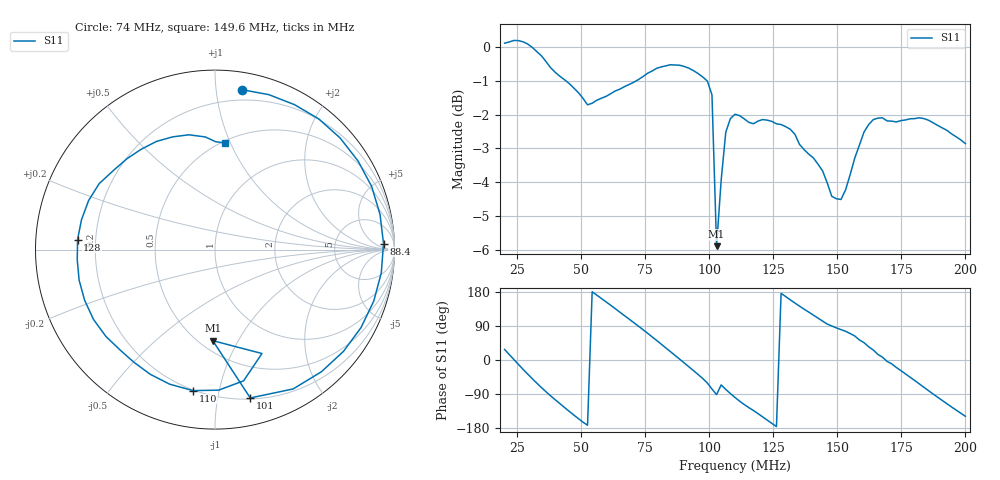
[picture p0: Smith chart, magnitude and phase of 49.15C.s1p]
# HZ S RI R 50
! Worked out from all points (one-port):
!   101 points, 20 MHz to 200 MHz, reference 50 ohm
!   lowest |S11| = -5.9 dB at 102.8 MHz (marker M1), VSWR 3.06, Z = 29 - j39.6 ohm
!   |S11| at or under -10 dB: nowhere
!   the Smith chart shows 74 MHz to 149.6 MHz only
!   S11 on the Smith chart (normalised r, x): 74 MHz: 0.12, +1.18; 88.4 MHz: 24, +14; 101 MHz: 0.21, -1.24; 110 MHz: 0.20, -0.84; 128 MHz: 0.13, +0.04; 149.6 MHz: 0.52, +0.95
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2e7  0.8952 0.4738
2.54e7  1.001 -0.2056
3.26e7  0.4745 -0.8619
3.8e7  -0.0761 -0.9282
4.34e7  -0.5166 -0.7298
4.88e7  -0.7732 -0.3673
5.42e7  -0.8256 0.000276
6.5e7  -0.513 0.6976
7.4e7  0.1511 0.8909
8.12e7  0.697 0.6219
8.84e7  0.9389 0.0337
9.56e7  0.7164 -0.5663
1.01e8  0.1964 -0.8266
1.028e8  -0.0125 -0.5073
1.046e8  0.2617 -0.579
1.1e8  -0.1226 -0.7855
1.208e8  -0.6774 -0.3885
1.28e8  -0.7658 0.0557
1.334e8  -0.6455 0.3674
1.424e8  -0.2362 0.6281
1.496e8  0.0547 0.5938
1.55e8  0.224 0.6077
1.604e8  0.5223 0.5361
1.658e8  0.7585 0.2011
1.712e8  0.7647 -0.1362
1.784e8  0.5495 -0.5576
1.892e8  -0.1118 -0.7572
2e8  -0.6136 -0.3759
